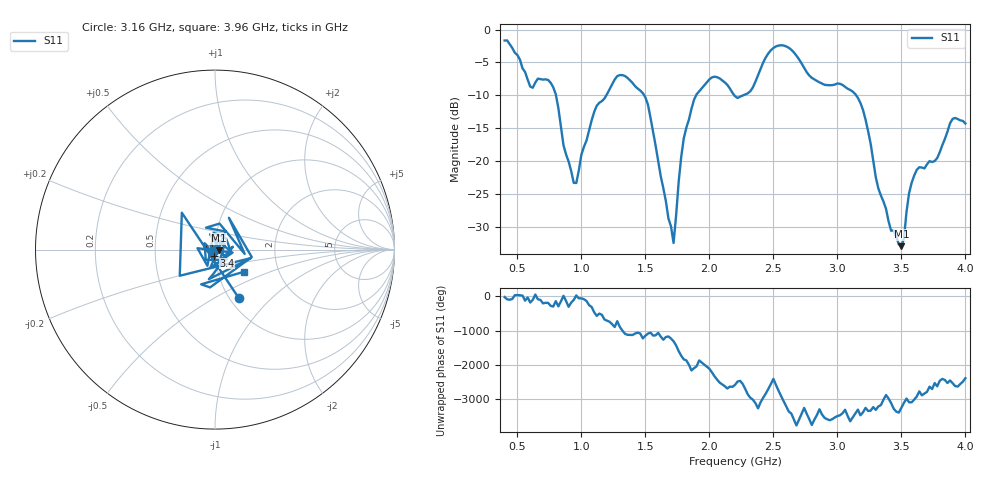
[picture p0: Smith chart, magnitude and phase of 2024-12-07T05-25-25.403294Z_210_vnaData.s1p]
!Created with skrf (http://scikit-rf.org).
# Hz S RI R 50.0
!freq ReS11 ImS11
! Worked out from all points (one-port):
!   181 points, 400 MHz to 4 GHz, reference 50 ohm
!   lowest |S11| = -33.0 dB at 3.5 GHz (marker M1), VSWR 1.05, Z = 52.2 - j0.45 ohm
!   |S11| at or under -10 dB: 801.3 MHz to 1.195 GHz (393.8 MHz wide, 39.5 % of centre); 1.49 GHz to 1.897 GHz (406.8 MHz wide, 24 % of centre); 3.146 GHz to end of sweep (the widest 3 of 4)
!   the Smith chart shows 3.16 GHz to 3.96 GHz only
!   S11 on the Smith chart (normalised r, x): 3.16 GHz: 1.10, -0.66; 3.4 GHz: 0.98, -0.07; 3.96 GHz: 1.34, -0.34
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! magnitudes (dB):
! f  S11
! 400 MHz  -1.7
! 600 MHz  -8.7
! 780 MHz  -8.8
! 860 MHz  -17.6
! 960 MHz  -23.4
! 1.1 GHz  -12.5
! 1.3 GHz  -6.9
! 1.52 GHz  -11.4
! 1.72 GHz  -32.5
! 1.76 GHz  -23.2
! 1.8 GHz  -16.5
! 1.9 GHz  -9.9
! 2.04 GHz  -7.2
! 2.2 GHz  -10.1
! 2.32 GHz  -9.4
! 2.5 GHz  -2.8
! 2.66 GHz  -3.5
! 2.8 GHz  -7.3
! 3.1 GHz  -9.2
! 3.16 GHz  -10.4
! 3.4 GHz  -29.2
! 3.5 GHz  -33.0
! 3.56 GHz  -24.9
! 3.62 GHz  -21.4
! 3.76 GHz  -20.0
! 3.9 GHz  -13.6
! 3.96 GHz  -13.8
! 4 GHz  -14.3
